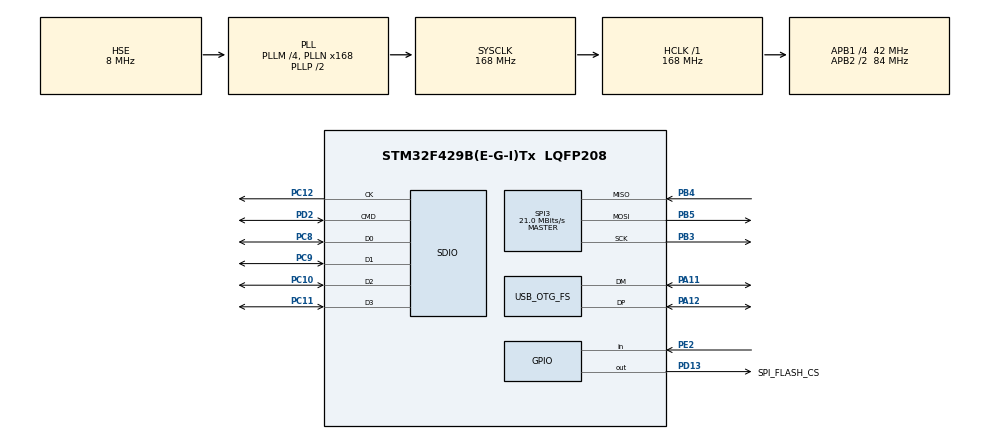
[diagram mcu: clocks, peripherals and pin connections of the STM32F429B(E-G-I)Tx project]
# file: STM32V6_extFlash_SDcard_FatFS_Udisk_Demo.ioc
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Dma.Request0=SDIO_RX
Dma.Request1=SDIO_TX
Dma.SDIO_RX.0.Direction=DMA_PERIPH_TO_MEMORY
Dma.SDIO_RX.0.FIFOMode=DMA_FIFOMODE_ENABLE
Dma.SDIO_RX.0.FIFOThreshold=DMA_FIFO_THRESHOLD_FULL
Dma.SDIO_RX.0.Instance=DMA2_Stream3
Dma.SDIO_RX.0.MemBurst=DMA_MBURST_INC4
Dma.SDIO_RX.0.MemDataAlignment=DMA_MDATAALIGN_WORD
Dma.SDIO_RX.0.MemInc=DMA_MINC_ENABLE
Dma.SDIO_RX.0.Mode=DMA_PFCTRL
Dma.SDIO_RX.0.PeriphBurst=DMA_PBURST_INC4
Dma.SDIO_RX.0.PeriphDataAlignment=DMA_PDATAALIGN_WORD
Dma.SDIO_RX.0.PeriphInc=DMA_PINC_DISABLE
Dma.SDIO_RX.0.Priority=DMA_PRIORITY_LOW
Dma.SDIO_TX.1.Direction=DMA_MEMORY_TO_PERIPH
Dma.SDIO_TX.1.FIFOMode=DMA_FIFOMODE_ENABLE
Dma.SDIO_TX.1.FIFOThreshold=DMA_FIFO_THRESHOLD_FULL
Dma.SDIO_TX.1.Instance=DMA2_Stream6
Dma.SDIO_TX.1.MemBurst=DMA_MBURST_INC4
Dma.SDIO_TX.1.MemDataAlignment=DMA_MDATAALIGN_WORD
Dma.SDIO_TX.1.MemInc=DMA_MINC_ENABLE
Dma.SDIO_TX.1.Mode=DMA_PFCTRL
Dma.SDIO_TX.1.PeriphBurst=DMA_PBURST_INC4
Dma.SDIO_TX.1.PeriphDataAlignment=DMA_PDATAALIGN_WORD
Dma.SDIO_TX.1.PeriphInc=DMA_PINC_DISABLE
Dma.SDIO_TX.1.Priority=DMA_PRIORITY_LOW
FATFS.BSP.number=1
FATFS.USE_DMA_CODE_SD=1
FATFS._MAX_SS=4096
FATFS0.BSP.STBoard=false
FATFS0.BSP.api=Unknown
FATFS0.BSP.instance=PE2
FATFS0.BSP.ip=GPIO
FATFS0.BSP.mode=Input
FATFS0.BSP.name=Detect_SDIO
FATFS0.BSP.solution=PE2
Mcu.Family=STM32F4
Mcu.Name=STM32F429B(E-G-I)Tx
Mcu.Package=LQFP208
NVIC.DMA2_Stream3_IRQn=true\:2\:0\:true\:false\:true\:false\:true\:true
NVIC.DMA2_Stream6_IRQn=true\:2\:0\:true\:false\:true\:false\:true\:true
NVIC.OTG_FS_IRQn=true\:5\:0\:true\:false\:true\:false\:true\:true
NVIC.PriorityGroup=NVIC_PRIORITYGROUP_4
NVIC.SDIO_IRQn=true\:4\:0\:true\:false\:true\:true\:true\:true
PA11.Mode=Device_Only
PA11.Signal=USB_OTG_FS_DM
PA12.GPIO_PuPd=GPIO_PULLUP
PA12.Mode=Device_Only
PA12.Signal=USB_OTG_FS_DP
PA13.Mode=Serial_Wire
PA13.Signal=SYS_JTMS-SWDIO
PA14.Mode=Serial_Wire
PA14.Signal=SYS_JTCK-SWCLK
PB3.Mode=Full_Duplex_Master
PB3.Signal=SPI3_SCK
PB4.Mode=Full_Duplex_Master
PB4.Signal=SPI3_MISO
PB5.Mode=Full_Duplex_Master
PB5.Signal=SPI3_MOSI
PC10.Mode=SD_4_bits_Wide_bus
PC10.Signal=SDIO_D2
PC11.Mode=SD_4_bits_Wide_bus
PC11.Signal=SDIO_D3
PC12.Mode=SD_4_bits_Wide_bus
PC12.Signal=SDIO_CK
PC8.Mode=SD_4_bits_Wide_bus
PC8.Signal=SDIO_D0
PC9.Mode=SD_4_bits_Wide_bus
PC9.Signal=SDIO_D1
PD13.GPIO_Label=SPI_FLASH_CS
PD13.GPIO_Speed=GPIO_SPEED_FREQ_HIGH
PD13.Signal=GPIO_Output
PD2.Mode=SD_4_bits_Wide_bus
PD2.Signal=SDIO_CMD
PE2.Signal=GPIO_Input
PH0/OSC_IN.Mode=HSE-External-Oscillator
PH0/OSC_IN.Signal=RCC_OSC_IN
PH1/OSC_OUT.Mode=HSE-External-Oscillator
PH1/OSC_OUT.Signal=RCC_OSC_OUT
ProjectManager.HeapSize=0x200
ProjectManager.StackSize=0x1600
ProjectManager.TargetToolchain=MDK-ARM V5.32
RCC.48MHZClocksFreq_Value=48000000
RCC.AHBFreq_Value=168000000
RCC.APB1CLKDivider=RCC_HCLK_DIV4
RCC.APB1Freq_Value=42000000
RCC.APB1TimFreq_Value=84000000
RCC.APB2CLKDivider=RCC_HCLK_DIV2
RCC.APB2Freq_Value=84000000
RCC.APB2TimFreq_Value=168000000
RCC.CortexFreq_Value=168000000
RCC.HCLKFreq_Value=168000000
RCC.HSE_VALUE=8000000
RCC.HSI_VALUE=16000000
RCC.LSE_VALUE=32768
RCC.PLLM=4
RCC.PLLN=168
RCC.PLLQ=7
RCC.SYSCLKFreq_VALUE=168000000
RCC.SYSCLKSource=RCC_SYSCLKSOURCE_PLLCLK
RCC.VCOOutputFreq_Value=336000000
SPI3.BaudRatePrescaler=SPI_BAUDRATEPRESCALER_2
SPI3.CalculateBaudRate=21.0 MBits/s
SPI3.Direction=SPI_DIRECTION_2LINES
SPI3.Mode=SPI_MODE_MASTER
SPI3.VirtualType=VM_MASTER
USB_DEVICE.CLASS_NAME_FS=MSC
USB_DEVICE.VirtualMode-MSC_FS=Msc
USB_DEVICE.VirtualModeFS=Msc_FS
USB_OTG_FS.VirtualMode=Device_Only
VP_FATFS_VS_Generic.Mode=User_defined
VP_FATFS_VS_SDIO.Mode=SDIO
VP_USB_DEVICE_VS_USB_DEVICE_MSC_FS.Mode=MSC_FS
board=custom

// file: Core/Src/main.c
/* USER CODE BEGIN Header */
/**
  ******************************************************************************
  * @file           : main.c
  * @brief          : Main program body
  ******************************************************************************
  * @attention
  *
  * Copyright (c) 2024 STMicroelectronics.
  * All rights reserved.
  *
  * This software is licensed under terms that can be found in the LICENSE file
  * in the root directory of this software component.
  * If no LICENSE file comes with this software, it is provided AS-IS.
  *
  ******************************************************************************
  */
/* USER CODE END Header */
#include "main.h"
#include "dma.h"
#include "fatfs.h"
#include "sdio.h"
#include "spi.h"
#include "gpio.h"

/* USER CODE BEGIN Includes */
#include "dbger.h"
#include "fatfs_file_handler.h"
#include "sfud.h"
#include "usb_device.h"
/* USER CODE END Includes */

/* USER CODE BEGIN PV */
StoreDisk_t sDisk[_VOLUMES] = {
	// path       FATFS       FIL        opt     mCnt
	{SDPath, 	&SDFatFS, 	&SDFile, 	FM_FAT32, 0},		// SDcard disk
	{USERPath, 	&USERFatFS, &USERFile, 	FM_FAT,   0}		// SpiFlash disk
};
/* USER CODE END PV */

void SystemClock_Config(void);

int main(void)
{

  /* MCU Configuration--------------------------------------------------------*/

  /* Reset of all peripherals, Initializes the Flash interface and the Systick. */
  HAL_Init();

  /* Configure the system clock */
  SystemClock_Config();

  /* USER CODE BEGIN SysInit */
	LOG_INIT();
	LOG_DBG("\n\nSTM32V6 extFlash(SPI) SD-Card FatFS Demo\n");
  /* USER CODE END SysInit */

  /* Initialize all configured peripherals */
  MX_GPIO_Init();
  MX_DMA_Init();
  MX_SDIO_SD_Init();
  MX_SPI3_Init();
  MX_FATFS_Init();
  /* USER CODE BEGIN 2 */

  #if FH_API_TEST
  FH_API_test(&sDisk[0]);
  FH_API_test(&sDisk[1]);
  #endif

  #if UDISK_SDCARD
  FH_mount(&sDisk[0]);
  #endif

  #if UDISK_SPI_FLASH
  FH_mount(&sDisk[1]);
  #endif

  MX_USB_DEVICE_Init();
  HAL_Delay(5000);
  MX_USB_DEVICE_DeInit();
  HAL_Delay(1000);
  MX_USB_DEVICE_Init();

  /* USER CODE END 2 */

  /* Infinite loop */
  while (1)
  {

  }
}

void SystemClock_Config(void)
{
  RCC_OscInitTypeDef RCC_OscInitStruct = {0};
  RCC_ClkInitTypeDef RCC_ClkInitStruct = {0};

  /** Configure the main internal regulator output voltage
  */
  __HAL_RCC_PWR_CLK_ENABLE();
  __HAL_PWR_VOLTAGESCALING_CONFIG(PWR_REGULATOR_VOLTAGE_SCALE1);

  /** Initializes the RCC Oscillators according to the specified parameters
  * in the RCC_OscInitTypeDef structure.
  */
  RCC_OscInitStruct.OscillatorType = RCC_OSCILLATORTYPE_HSE;
  RCC_OscInitStruct.HSEState = RCC_HSE_ON;
  RCC_OscInitStruct.PLL.PLLState = RCC_PLL_ON;
  RCC_OscInitStruct.PLL.PLLSource = RCC_PLLSOURCE_HSE;
  RCC_OscInitStruct.PLL.PLLM = 4;
  RCC_OscInitStruct.PLL.PLLN = 168;
  RCC_OscInitStruct.PLL.PLLP = RCC_PLLP_DIV2;
  RCC_OscInitStruct.PLL.PLLQ = 7;
  if (HAL_RCC_OscConfig(&RCC_OscInitStruct) != HAL_OK)
  {
    Error_Handler();
  }

  /** Initializes the CPU, AHB and APB buses clocks
  */
  RCC_ClkInitStruct.ClockType = RCC_CLOCKTYPE_HCLK|RCC_CLOCKTYPE_SYSCLK
                              |RCC_CLOCKTYPE_PCLK1|RCC_CLOCKTYPE_PCLK2;
  RCC_ClkInitStruct.SYSCLKSource = RCC_SYSCLKSOURCE_PLLCLK;
  RCC_ClkInitStruct.AHBCLKDivider = RCC_SYSCLK_DIV1;
  RCC_ClkInitStruct.APB1CLKDivider = RCC_HCLK_DIV4;
  RCC_ClkInitStruct.APB2CLKDivider = RCC_HCLK_DIV2;

  if (HAL_RCC_ClockConfig(&RCC_ClkInitStruct, FLASH_LATENCY_5) != HAL_OK)
  {
    Error_Handler();
  }
}

void Error_Handler(void)
{
  __disable_irq();
  while (1)
  {
  }
}
